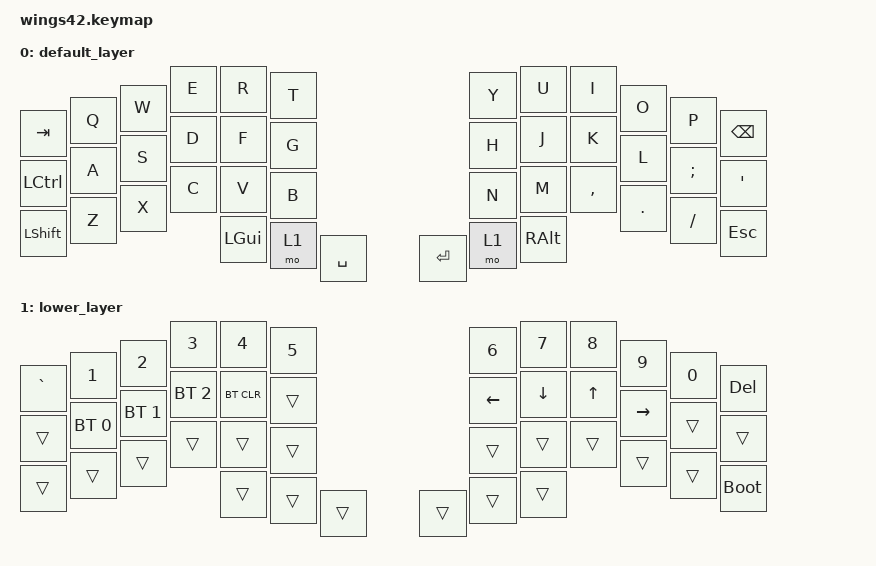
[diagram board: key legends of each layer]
#include <behaviors.dtsi>
#include <dt-bindings/zmk/keys.h>
#include <dt-bindings/zmk/bt.h>

/ {
    keymap {
        compatible = "zmk,keymap";

        default_layer {
            bindings = <
                &kp TAB   &kp Q &kp W &kp E &kp R &kp T    &kp Y &kp U &kp I     &kp O   &kp P    &kp BSPC
                &kp LCTRL &kp A &kp S &kp D &kp F &kp G    &kp H &kp J &kp K     &kp L   &kp SEMI &kp SQT
                &kp LSHFT &kp Z &kp X &kp C &kp V &kp B    &kp N &kp M &kp COMMA &kp DOT &kp FSLH &kp ESC
                                      &kp LGUI &mo 1 &kp SPACE   &kp RET &mo 1 &kp RALT
            >;
        };

        lower_layer {
            bindings = <
                &kp GRAVE &kp N1       &kp N2       &kp N3       &kp N4     &kp N5     &kp N6    &kp N7    &kp N8  &kp N9    &kp N0 &kp DEL
                &trans    &bt BT_SEL 0 &bt BT_SEL 1 &bt BT_SEL 2 &bt BT_CLR &trans     &kp LEFT  &kp DOWN  &kp UP  &kp RIGHT &trans &trans
                &trans    &trans       &trans       &trans       &trans     &trans     &trans    &trans    &trans  &trans    &trans &bootloader
                                                    &trans &trans &trans    &trans &trans &trans
            >;
        };
    };
};
